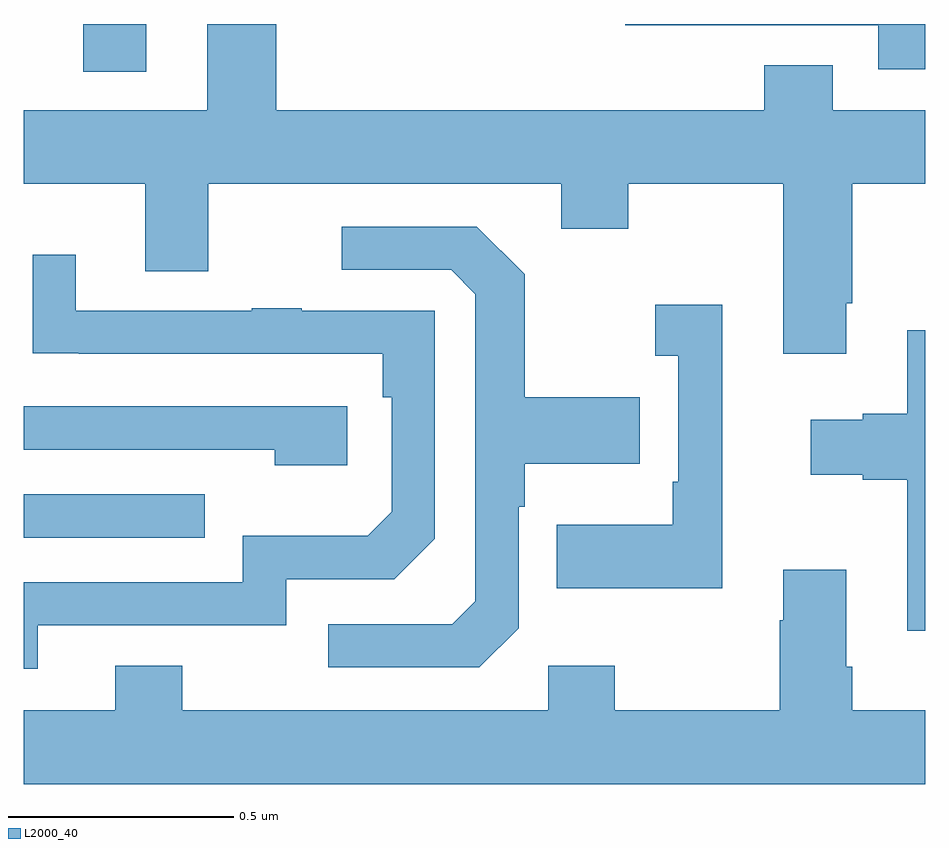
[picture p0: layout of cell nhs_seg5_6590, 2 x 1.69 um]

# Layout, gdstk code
import gdstk
lib = gdstk.Library(unit=1e-6, precision=1e-09)
def R(c, l, rs):  # rectangles x0, y0, x1, y1
    for r in rs: c.add(gdstk.rectangle(r[:2], r[2:], *l))
def P(c, l, *ps):  # polygons
    for p in ps: c.add(gdstk.Polygon(p, *l))
L2000_40 = (2000, 40)

nhs_seg5_6590 = lib.new_cell('nhs_seg5_6590')
R(nhs_seg5_6590, L2000_40, [(198,838.659,198.401,838.755), (198.131,839.693,198.271,839.799)])
P(nhs_seg5_6590, L2000_40, [(199.825,839.179),(199.838,839.179),(199.838,839.444),(200,839.444),(200,839.608),(199.795,839.608),(199.795,839.707),(199.643,839.707),(199.643,839.608),(198.56,839.608),(198.56,839.799),(198.407,839.799),(198.407,839.608),(198,839.608),(198,839.444),(198.269,839.444),(198.269,839.25),(198.409,839.25),(198.409,839.444),(199.193,839.444),(199.193,839.345),(199.341,839.345),(199.341,839.444),(199.685,839.444),(199.685,839.067),(199.825,839.067)],
  [(200,839.799),(199.335,839.799),(199.335,839.796),(199.896,839.796),(199.896,839.699),(200,839.699)],
  [(199.098,838.458),(199.098,838.727),(199.111,838.727),(199.111,838.823),(199.367,838.823),(199.367,838.971),(199.111,838.971),(199.111,839.243),(199.005,839.349),(198.705,839.349),(198.705,839.253),(198.948,839.253),(199.002,839.199),(199.002,838.518),(198.951,838.467),(198.675,838.467),(198.675,838.371),(199.011,838.371)],
  [(198.031,838.464),(198.582,838.464),(198.582,838.566),(198.822,838.566),(198.912,838.656),(198.912,839.163),(198.617,839.163),(198.617,839.168),(198.505,839.168),(198.505,839.163),(198.115,839.163),(198.115,839.287),(198.019,839.287),(198.019,839.068),(198.121,839.068),(198.121,839.067),(198.796,839.067),(198.796,838.97),(198.816,838.97),(198.816,838.716),(198.763,838.663),(198.486,838.663),(198.486,838.56),(198,838.56),(198,838.368),(198.031,838.368)],
  [(199.55,839.176),(199.401,839.176),(199.401,839.063),(199.452,839.063),(199.452,838.783),(199.44,838.783),(199.44,838.687),(199.183,838.687),(199.183,838.547),(199.55,838.547)],
  [(200,839.119),(199.961,839.119),(199.961,838.934),(199.862,838.934),(199.862,838.921),(199.746,838.921),(199.746,838.799),(199.862,838.799),(199.862,838.787),(199.961,838.787),(199.961,838.452),(200,838.452)],
  [(198.718,838.95),(198,838.95),(198,838.854),(198.557,838.854),(198.557,838.82),(198.718,838.82)],
  [(200,838.276),(199.838,838.276),(199.838,838.372),(199.825,838.372),(199.825,838.588),(199.685,838.588),(199.685,838.475),(199.678,838.475),(199.678,838.276),(199.311,838.276),(199.311,838.375),(199.164,838.375),(199.164,838.276),(198.351,838.276),(198.351,838.375),(198.203,838.375),(198.203,838.276),(198,838.276),(198,838.112),(200,838.112)])

lib.write_gds('nhs_seg5_6590.gds')
